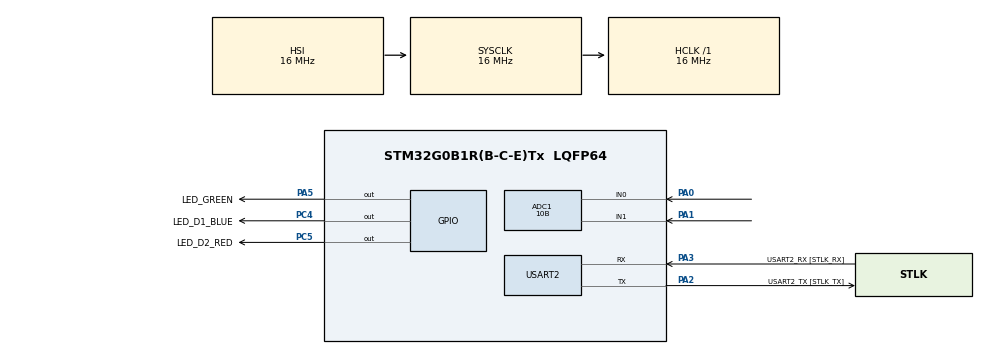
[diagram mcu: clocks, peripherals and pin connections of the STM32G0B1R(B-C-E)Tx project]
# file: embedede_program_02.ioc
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ADC1.Channel-3\#ChannelRegularConversion=ADC_CHANNEL_0
ADC1.ContinuousConvMode=ENABLE
ADC1.DMAContinuousRequests=ENABLE
ADC1.NbrOfConversionFlag=1
ADC1.Rank-3\#ChannelRegularConversion=1
ADC1.Resolution=ADC_RESOLUTION_10B
ADC1.SamplingTime-3\#ChannelRegularConversion=ADC_SAMPLINGTIME_COMMON_1
ADC1.SelectedChannel=ADC_CHANNEL_0|ADC_CHANNEL_1
ADC1.master=1
Dma.ADC1.0.Direction=DMA_PERIPH_TO_MEMORY
Dma.ADC1.0.EventEnable=DISABLE
Dma.ADC1.0.Instance=DMA1_Channel1
Dma.ADC1.0.MemDataAlignment=DMA_MDATAALIGN_HALFWORD
Dma.ADC1.0.MemInc=DMA_MINC_ENABLE
Dma.ADC1.0.Mode=DMA_CIRCULAR
Dma.ADC1.0.PeriphDataAlignment=DMA_PDATAALIGN_HALFWORD
Dma.ADC1.0.PeriphInc=DMA_PINC_DISABLE
Dma.ADC1.0.Polarity=HAL_DMAMUX_REQ_GEN_RISING
Dma.ADC1.0.Priority=DMA_PRIORITY_MEDIUM
Dma.ADC1.0.RequestNumber=1
Dma.ADC1.0.SignalID=NONE
Dma.ADC1.0.SyncEnable=DISABLE
Dma.ADC1.0.SyncPolarity=HAL_DMAMUX_SYNC_NO_EVENT
Dma.ADC1.0.SyncRequestNumber=1
Dma.ADC1.0.SyncSignalID=NONE
Dma.Request0=ADC1
FREERTOS.Tasks01=defaultTask,0,128,StartDefaultTask,Default,NULL,Dynamic,NULL,NULL
FREERTOS.configUSE_NEWLIB_REENTRANT=1
Mcu.Family=STM32G0
Mcu.Name=STM32G0B1R(B-C-E)Tx
Mcu.Package=LQFP64
NVIC.DMA1_Channel1_IRQn=true\:3\:0\:false\:false\:true\:true\:false\:true\:true
NVIC.TIM1_BRK_UP_TRG_COM_IRQn=true\:3\:0\:false\:false\:true\:false\:false\:true\:true
NVIC.TimeBase=TIM1_BRK_UP_TRG_COM_IRQn
NVIC.TimeBaseIP=TIM1
PA0.Mode=IN0
PA0.Signal=ADC1_IN0
PA1.Mode=IN1
PA1.Signal=ADC1_IN1
PA13.GPIO_Label=TMS
PA13.Mode=Serial_Wire
PA13.Signal=SYS_SWDIO
PA14-BOOT0.GPIO_Label=TCK
PA14-BOOT0.Mode=Serial_Wire
PA14-BOOT0.Signal=SYS_SWCLK
PA2.GPIO_Label=USART2_TX [STLK_TX]
PA2.Mode=Asynchronous
PA2.Signal=USART2_TX
PA3.GPIO_Label=USART2_RX [STLK_RX]
PA3.Mode=Asynchronous
PA3.Signal=USART2_RX
PA5.GPIO_Label=LED_GREEN
PA5.GPIO_Speed=GPIO_SPEED_FREQ_HIGH
PA5.Signal=GPIO_Output
PC13.Mode=SYS_WakeUp1
PC13.Signal=SYS_WKUP2
PC14-OSC32_IN\ (PC14).Mode=LSE-External-Oscillator
PC14-OSC32_IN\ (PC14).Signal=RCC_OSC32_IN
PC15-OSC32_OUT\ (PC15).Mode=LSE-External-Oscillator
PC15-OSC32_OUT\ (PC15).Signal=RCC_OSC32_OUT
PC4.GPIO_Label=LED_D1_BLUE
PC4.GPIO_Speed=GPIO_SPEED_FREQ_MEDIUM
PC4.Signal=GPIO_Output
PC5.GPIO_Label=LED_D2_RED
PC5.Signal=GPIO_Output
PF0-OSC_IN\ (PF0).GPIO_Label=MCO
PF0-OSC_IN\ (PF0).Mode=HSE-External-Clock-Source
PF0-OSC_IN\ (PF0).Signal=RCC_OSC_IN
ProjectManager.HeapSize=0x200
ProjectManager.StackSize=0x400
ProjectManager.TargetToolchain=STM32CubeIDE
RCC.AHBFreq_Value=16000000
RCC.CortexFreq_Value=16000000
RCC.EXTERNAL_CLOCK_VALUE=12288000
RCC.HCLKFreq_Value=16000000
RCC.HSE_VALUE=8000000
RCC.HSI48_VALUE=48000000
RCC.HSI_VALUE=16000000
RCC.SYSCLKFreq_VALUE=16000000
RCC.USBFreq_Value=48000000
RCC.VCOOutputFreq_Value=128000000
USART2.VirtualMode-Asynchronous=VM_ASYNC
VP_FREERTOS_VS_CMSIS_V1.Mode=CMSIS_V1
VP_SYS_VS_tim1.Mode=TIM1
board=NUCLEO-G0B1RE

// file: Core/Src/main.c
/* USER CODE BEGIN Header */
/**
  ******************************************************************************
  * @file           : main.c
  * @brief          : Main program body
  ******************************************************************************
  * @attention
  *
  * Copyright (c) 2024 STMicroelectronics.
  * All rights reserved.
  *
  * This software is licensed under terms that can be found in the LICENSE file
  * in the root directory of this software component.
  * If no LICENSE file comes with this software, it is provided AS-IS.
  *
  ******************************************************************************
  */
/* USER CODE END Header */
#include "main.h"
#include "cmsis_os.h"
#include "stdbool.h"

/* USER CODE BEGIN Includes */
#include <string.h>
#include "queue.h"
/* USER CODE END Includes */

/* USER CODE BEGIN PM */
#define ADC_BUFFER_SIZE	1024
uint32_t adcBuffer[ADC_BUFFER_SIZE];
typedef uint32_t TaskProfiler;
TaskProfiler DefaultTaskProfiler;
TaskProfiler ReadADCTaskProfiler;
TaskProfiler TransmitADCTaskProfiler;
TaskProfiler extraTaskProfiler;
TaskProfiler idleTaskProfiler;
/* USER CODE END PM */

ADC_HandleTypeDef hadc1;
DMA_HandleTypeDef hdma_adc1;

UART_HandleTypeDef huart2;

osThreadId defaultTaskHandle;
/* USER CODE BEGIN PV */
osThreadId readADCTaskHandle;
osThreadId transmitADCTaskHandle;
osThreadId extraTaskHandle;

// Task for queues
osThreadId senderTaskHandle;
osThreadId receiverTaskHandle;

// A queue returns a handle from which we can access the queue
QueueHandle_t yearQueue ;
/* USER CODE END PV */

void SystemClock_Config(void);
static void MX_GPIO_Init(void);
static void MX_DMA_Init(void);
static void MX_USART2_UART_Init(void);
static void MX_ADC1_Init(void);
void StartDefaultTask(void const * argument);

/* USER CODE BEGIN PFP */
void StartReadADCTask(void const * argument);
void StartTransmitADCTask(void const * argument);
void StartExtraTask(void const * argument);

// This taks is for learning queues
void SenderTask(void const * argument);
void ReceiverTask(void const * argument);
/* USER CODE END PFP */

/* USER CODE BEGIN 0 */
uint32_t suspend_blue;
uint32_t suspend_red;
uint32_t suspend_green;
bool is_suspended = false;

// adding delay
const TickType_t _250ms = pdMS_TO_TICKS(250);

// create a queue
/* USER CODE END 0 */

int main(void)
{

  /* MCU Configuration--------------------------------------------------------*/

  /* Reset of all peripherals, Initializes the Flash interface and the Systick. */
  HAL_Init();

  /* Configure the system clock */
  SystemClock_Config();

  /* Initialize all configured peripherals */
  MX_GPIO_Init();
  MX_DMA_Init();
  MX_USART2_UART_Init();
  MX_ADC1_Init();

  /* Create the thread(s) */
  /* definition and creation of defaultTask */
  osThreadDef(defaultTask, StartDefaultTask, osPriorityNormal, 0, 128);
  defaultTaskHandle = osThreadCreate(osThread(defaultTask), NULL);

  /* USER CODE BEGIN RTOS_THREADS */
  /* add threads, ... */
  osThreadDef(readADCTask, StartReadADCTask, osPriorityNormal, 0, 128);
  readADCTaskHandle = osThreadCreate(osThread(readADCTask), NULL);

  //osThreadDef(transmitADCTask, StartTransmitADCTask, osPriorityNormal, 0 , 128);
  //transmitADCTaskHandle = osThreadCreate(osThread(transmitADCTask), NULL);

  osThreadDef(extraTask, StartExtraTask, osPriorityNormal, 0 , 128);
  extraTaskHandle = osThreadCreate(osThread(extraTask), NULL);

  /* USER CODE END RTOS_THREADS */

  /* Start scheduler */
  osKernelStart();

  /* We should never get here as control is now taken by the scheduler */
  /* Infinite loop */
  while (1)
  {

  }
}

void SystemClock_Config(void)
{
  RCC_OscInitTypeDef RCC_OscInitStruct = {0};
  RCC_ClkInitTypeDef RCC_ClkInitStruct = {0};

  /** Configure the main internal regulator output voltage
  */
  HAL_PWREx_ControlVoltageScaling(PWR_REGULATOR_VOLTAGE_SCALE1);

  /** Initializes the RCC Oscillators according to the specified parameters
  * in the RCC_OscInitTypeDef structure.
  */
  RCC_OscInitStruct.OscillatorType = RCC_OSCILLATORTYPE_HSI;
  RCC_OscInitStruct.HSIState = RCC_HSI_ON;
  RCC_OscInitStruct.HSIDiv = RCC_HSI_DIV1;
  RCC_OscInitStruct.HSICalibrationValue = RCC_HSICALIBRATION_DEFAULT;
  RCC_OscInitStruct.PLL.PLLState = RCC_PLL_NONE;
  if (HAL_RCC_OscConfig(&RCC_OscInitStruct) != HAL_OK)
  {
    Error_Handler();
  }

  /** Initializes the CPU, AHB and APB buses clocks
  */
  RCC_ClkInitStruct.ClockType = RCC_CLOCKTYPE_HCLK|RCC_CLOCKTYPE_SYSCLK
                              |RCC_CLOCKTYPE_PCLK1;
  RCC_ClkInitStruct.SYSCLKSource = RCC_SYSCLKSOURCE_HSI;
  RCC_ClkInitStruct.AHBCLKDivider = RCC_SYSCLK_DIV1;
  RCC_ClkInitStruct.APB1CLKDivider = RCC_HCLK_DIV1;

  if (HAL_RCC_ClockConfig(&RCC_ClkInitStruct, FLASH_LATENCY_0) != HAL_OK)
  {
    Error_Handler();
  }
}

static void MX_ADC1_Init(void)
{

  ADC_ChannelConfTypeDef sConfig = {0};

  /** Configure the global features of the ADC (Clock, Resolution, Data Alignment and number of conversion)
  */
  hadc1.Instance = ADC1;
  hadc1.Init.ClockPrescaler = ADC_CLOCK_SYNC_PCLK_DIV2;
  hadc1.Init.Resolution = ADC_RESOLUTION_10B;
  hadc1.Init.DataAlign = ADC_DATAALIGN_RIGHT;
  hadc1.Init.ScanConvMode = ADC_SCAN_DISABLE;
  hadc1.Init.EOCSelection = ADC_EOC_SINGLE_CONV;
  hadc1.Init.LowPowerAutoWait = DISABLE;
  hadc1.Init.LowPowerAutoPowerOff = DISABLE;
  hadc1.Init.ContinuousConvMode = ENABLE;
  hadc1.Init.NbrOfConversion = 1;
  hadc1.Init.ExternalTrigConv = ADC_SOFTWARE_START;
  hadc1.Init.ExternalTrigConvEdge = ADC_EXTERNALTRIGCONVEDGE_NONE;
  hadc1.Init.DMAContinuousRequests = ENABLE;
  hadc1.Init.Overrun = ADC_OVR_DATA_PRESERVED;
  hadc1.Init.SamplingTimeCommon1 = ADC_SAMPLETIME_1CYCLE_5;
  hadc1.Init.SamplingTimeCommon2 = ADC_SAMPLETIME_1CYCLE_5;
  hadc1.Init.OversamplingMode = DISABLE;
  hadc1.Init.TriggerFrequencyMode = ADC_TRIGGER_FREQ_HIGH;
  if (HAL_ADC_Init(&hadc1) != HAL_OK)
  {
    Error_Handler();
  }

  /** Configure Regular Channel
  */
  sConfig.Channel = ADC_CHANNEL_0;
  sConfig.Rank = ADC_REGULAR_RANK_1;
  sConfig.SamplingTime = ADC_SAMPLINGTIME_COMMON_1;
  if (HAL_ADC_ConfigChannel(&hadc1, &sConfig) != HAL_OK)
  {
    Error_Handler();
  }

}

static void MX_USART2_UART_Init(void)
{

  huart2.Instance = USART2;
  huart2.Init.BaudRate = 115200;
  huart2.Init.WordLength = UART_WORDLENGTH_8B;
  huart2.Init.StopBits = UART_STOPBITS_1;
  huart2.Init.Parity = UART_PARITY_NONE;
  huart2.Init.Mode = UART_MODE_TX_RX;
  huart2.Init.HwFlowCtl = UART_HWCONTROL_NONE;
  huart2.Init.OverSampling = UART_OVERSAMPLING_16;
  huart2.Init.OneBitSampling = UART_ONE_BIT_SAMPLE_DISABLE;
  huart2.Init.ClockPrescaler = UART_PRESCALER_DIV1;
  huart2.AdvancedInit.AdvFeatureInit = UART_ADVFEATURE_NO_INIT;
  if (HAL_UART_Init(&huart2) != HAL_OK)
  {
    Error_Handler();
  }
  if (HAL_UARTEx_SetTxFifoThreshold(&huart2, UART_TXFIFO_THRESHOLD_1_8) != HAL_OK)
  {
    Error_Handler();
  }
  if (HAL_UARTEx_SetRxFifoThreshold(&huart2, UART_RXFIFO_THRESHOLD_1_8) != HAL_OK)
  {
    Error_Handler();
  }
  if (HAL_UARTEx_DisableFifoMode(&huart2) != HAL_OK)
  {
    Error_Handler();
  }

}

static void MX_DMA_Init(void)
{

  /* DMA controller clock enable */
  __HAL_RCC_DMA1_CLK_ENABLE();

  /* DMA interrupt init */
  /* DMA1_Channel1_IRQn interrupt configuration */
  HAL_NVIC_SetPriority(DMA1_Channel1_IRQn, 3, 0);
  HAL_NVIC_EnableIRQ(DMA1_Channel1_IRQn);

}

static void MX_GPIO_Init(void)
{
  GPIO_InitTypeDef GPIO_InitStruct = {0};

  /* GPIO Ports Clock Enable */
  __HAL_RCC_GPIOC_CLK_ENABLE();
  __HAL_RCC_GPIOF_CLK_ENABLE();
  __HAL_RCC_GPIOA_CLK_ENABLE();

  /*Configure GPIO pin Output Level */
  HAL_GPIO_WritePin(LED_GREEN_GPIO_Port, LED_GREEN_Pin, GPIO_PIN_RESET);

  /*Configure GPIO pin Output Level */
  HAL_GPIO_WritePin(GPIOC, LED_D1_BLUE_Pin|LED_D2_RED_Pin, GPIO_PIN_RESET);

  /*Configure GPIO pin : LED_GREEN_Pin */
  GPIO_InitStruct.Pin = LED_GREEN_Pin;
  GPIO_InitStruct.Mode = GPIO_MODE_OUTPUT_PP;
  GPIO_InitStruct.Pull = GPIO_NOPULL;
  GPIO_InitStruct.Speed = GPIO_SPEED_FREQ_HIGH;
  HAL_GPIO_Init(LED_GREEN_GPIO_Port, &GPIO_InitStruct);

  /*Configure GPIO pin : LED_D1_BLUE_Pin */
  GPIO_InitStruct.Pin = LED_D1_BLUE_Pin;
  GPIO_InitStruct.Mode = GPIO_MODE_OUTPUT_PP;
  GPIO_InitStruct.Pull = GPIO_NOPULL;
  GPIO_InitStruct.Speed = GPIO_SPEED_FREQ_MEDIUM;
  HAL_GPIO_Init(LED_D1_BLUE_GPIO_Port, &GPIO_InitStruct);

  /*Configure GPIO pin : LED_D2_RED_Pin */
  GPIO_InitStruct.Pin = LED_D2_RED_Pin;
  GPIO_InitStruct.Mode = GPIO_MODE_OUTPUT_PP;
  GPIO_InitStruct.Pull = GPIO_NOPULL;
  GPIO_InitStruct.Speed = GPIO_SPEED_FREQ_LOW;
  HAL_GPIO_Init(LED_D2_RED_GPIO_Port, &GPIO_InitStruct);

}

/* USER CODE BEGIN 4 */

// calling idleTask, it's already created
/**
 * @brief Function implementing vApplicationIdleHook in-built function
 * @param argument: Not used
 * @retval None
 */
void vApplicationIdleHook(void){
	idleTaskProfiler++;
	// do something when schedule is idle
}

/**
 * @brief Function implementing the extraTask thread
 * @param argument: Not used
 * @retval None
 */

void StartExtraTask(void const * argument){
	for(;;){
		extraTaskProfiler++;
		  //vTaskDelay(_250ms);
		  vTaskDelay(100);

		//osDelay(1);
	}
}

/**
 * @brief Function implementing the transmitADC thread
 * @param argument: Not used
 * @retval None
 */
void StartTransmitADCTask(void const * argument){
	//char msg[20];
	for(;;){
		 vTaskDelay(100);
		  //vTaskDelay(_250ms);
		// Transmit ADC values
		HAL_GPIO_WritePin(LED_D2_RED_GPIO_Port, LED_D2_RED_Pin, GPIO_PIN_RESET);
		osDelay(500);
		HAL_GPIO_WritePin(LED_D2_RED_GPIO_Port, LED_D2_RED_Pin, GPIO_PIN_SET);
		osDelay(500);
	}
}

/**
 * @brief Function implementing readADCTask thread
 * @param argument: Not used
 * @retval None
 */
//#define LED_D1_BLUE_Pin GPIO_PIN_4
//#define LED_D1_BLUE_GPIO_Port GPIOC
//#define LED_D2_RED_Pin GPIO_PIN_5
//#define LED_D2_RED_GPIO_Port GPIOC

void StartReadADCTask(void const * argument){
	for(;;){

		ReadADCTaskProfiler++;
		  vTaskDelay(100);
//		  vTaskDelay(_250ms);
/*

		  suspend_green++;

		if(suspend_green > 20){
			vTaskSuspend(defaultTaskHandle);
		}

		if(suspend_green > 25){
				vTaskResume(defaultTaskHandle);
				suspend_green %= 30;
		}

		*/

		HAL_GPIO_WritePin(LED_D1_BLUE_GPIO_Port, LED_D1_BLUE_Pin, GPIO_PIN_RESET);
		osDelay(500);
		HAL_GPIO_WritePin(LED_D1_BLUE_GPIO_Port, LED_D1_BLUE_Pin, GPIO_PIN_SET);
		osDelay(500);
	}
}

/* USER CODE END 4 */

void StartDefaultTask(void const * argument)
{
  /* USER CODE BEGIN 5 */
	const char* msg = "hello world";
  /* Infinite loop */
  for(;;)
  {

	  DefaultTaskProfiler++;
	  //vTaskDelay(100);
//	  vTaskDelay(_250ms);

	  /*
	HAL_GPIO_WritePin(LED_GREEN_GPIO_Port, LED_GREEN_Pin, GPIO_PIN_RESET);
    osDelay(100);
    HAL_GPIO_WritePin(LED_GREEN_GPIO_Port, LED_GREEN_Pin, GPIO_PIN_SET);
    osDelay(100);

    */

    // Transmit via uart
    HAL_UART_Transmit(&huart2, (uint8_t *)msg, strlen(msg), HAL_MAX_DELAY);

  }
  /* USER CODE END 5 */
}

void HAL_TIM_PeriodElapsedCallback(TIM_HandleTypeDef *htim)
{
  if (htim->Instance == TIM1) {
    HAL_IncTick();
  }
}

void Error_Handler(void)
{
  __disable_irq();
  while (1)
  {
  }
}
